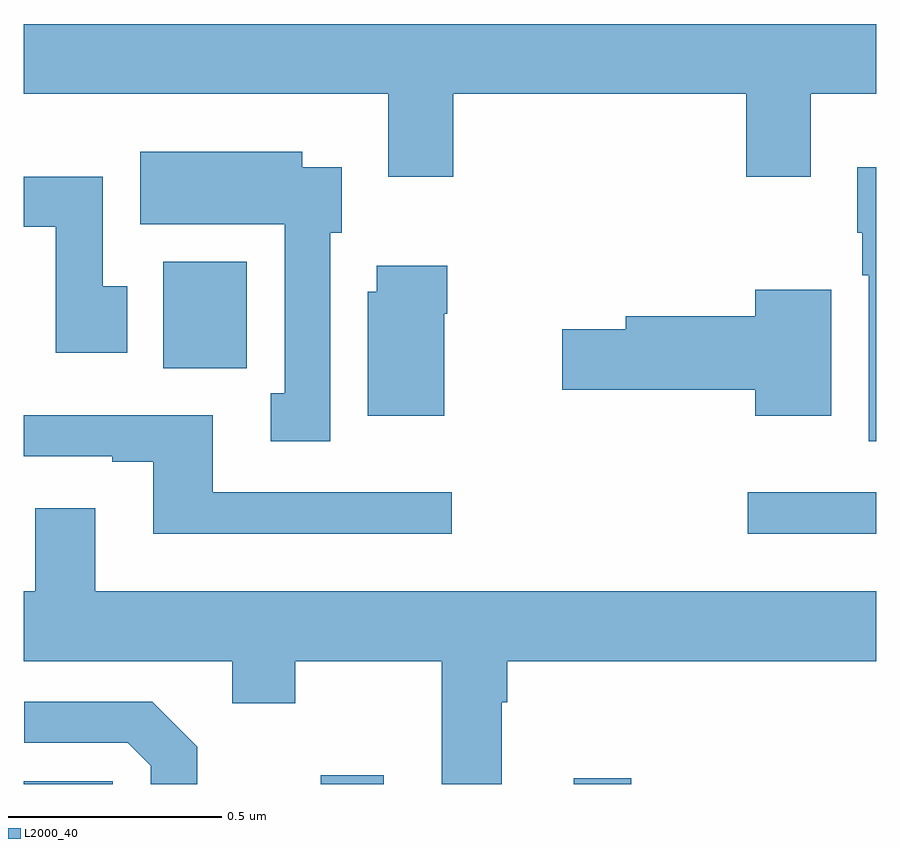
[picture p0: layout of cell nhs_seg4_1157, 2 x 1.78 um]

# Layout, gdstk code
import gdstk
lib = gdstk.Library(unit=1e-6, precision=1e-09)
def R(c, l, rs):  # rectangles x0, y0, x1, y1
    for r in rs: c.add(gdstk.rectangle(r[:2], r[2:], *l))
def P(c, l, *ps):  # polygons
    for p in ps: c.add(gdstk.Polygon(p, *l))
L2000_40 = (2000, 40)

nhs_seg4_1157 = lib.new_cell('nhs_seg4_1157')
R(nhs_seg4_1157, L2000_40, [(125,761.9,125.208,761.907), (125.697,761.9,125.845,761.92), (126.29,761.9,126.425,761.914), (126.699,762.488,127,762.585), (125.327,762.876,125.523,763.126)])
P(nhs_seg4_1157, L2000_40, [(126.008,763.52),(126.695,763.52),(126.695,763.326),(126.847,763.326),(126.847,763.52),(127,763.52),(127,763.684),(125,763.684),(125,763.52),(125.855,763.52),(125.855,763.326),(126.008,763.326)],
  [(125.719,763.194),(125.746,763.194),(125.746,763.348),(125.653,763.348),(125.653,763.384),(125.273,763.384),(125.273,763.214),(125.612,763.214),(125.612,762.817),(125.579,762.817),(125.579,762.705),(125.719,762.705)],
  [(127,763.348),(126.956,763.348),(126.956,763.194),(126.968,763.194),(126.968,763.094),(126.983,763.094),(126.983,762.705),(127,762.705)],
  [(125.242,763.068),(125.185,763.068),(125.185,763.326),(125,763.326),(125,763.208),(125.075,763.208),(125.075,762.912),(125.242,762.912)],
  [(125.986,763.004),(125.994,763.004),(125.994,763.117),(125.828,763.117),(125.828,763.056),(125.807,763.056),(125.807,762.764),(125.986,762.764)],
  [(126.895,763.06),(126.716,763.06),(126.716,762.998),(126.413,762.998),(126.413,762.968),(126.264,762.968),(126.264,762.826),(126.716,762.826),(126.716,762.764),(126.895,762.764)],
  [(126.004,762.585),(125.443,762.585),(125.443,762.766),(125,762.766),(125,762.669),(125.207,762.669),(125.207,762.657),(125.303,762.657),(125.303,762.488),(126.004,762.488)],
  [(125.027,762.547),(125.027,762.352),(125,762.352),(125,762.188),(125.489,762.188),(125.489,762.089),(125.637,762.089),(125.637,762.188),(125.981,762.188),(125.981,761.9),(126.121,761.9),(126.121,762.092),(126.134,762.092),(126.134,762.188),(127,762.188),(127,762.352),(125.167,762.352),(125.167,762.547)],
  [(125.407,761.987),(125.301,762.093),(125.001,762.093),(125.001,761.997),(125.244,761.997),(125.298,761.943),(125.298,761.9),(125.407,761.9)])

lib.write_gds('nhs_seg4_1157.gds')
